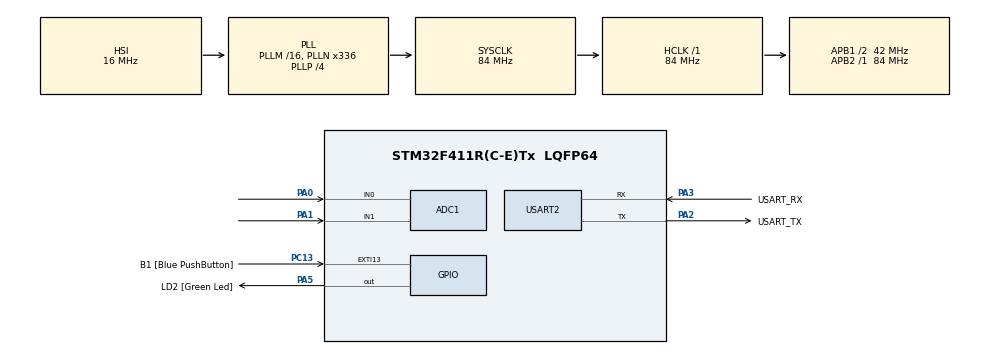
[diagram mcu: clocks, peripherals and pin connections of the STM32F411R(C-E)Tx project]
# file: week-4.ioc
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ADC1.Channel-0\#ChannelRegularConversion=ADC_CHANNEL_0
ADC1.Channel-1\#ChannelRegularConversion=ADC_CHANNEL_1
ADC1.Channel-2\#ChannelRegularConversion=ADC_CHANNEL_TEMPSENSOR
ADC1.Channel-3\#ChannelRegularConversion=ADC_CHANNEL_VREFINT
ADC1.ContinuousConvMode=ENABLE
ADC1.DMAContinuousRequests=ENABLE
ADC1.NbrOfConversion=4
ADC1.NbrOfConversionFlag=1
ADC1.Rank-0\#ChannelRegularConversion=1
ADC1.Rank-1\#ChannelRegularConversion=2
ADC1.Rank-2\#ChannelRegularConversion=3
ADC1.Rank-3\#ChannelRegularConversion=4
ADC1.SamplingTime-0\#ChannelRegularConversion=ADC_SAMPLETIME_480CYCLES
ADC1.SamplingTime-1\#ChannelRegularConversion=ADC_SAMPLETIME_480CYCLES
ADC1.SamplingTime-2\#ChannelRegularConversion=ADC_SAMPLETIME_480CYCLES
ADC1.SamplingTime-3\#ChannelRegularConversion=ADC_SAMPLETIME_480CYCLES
ADC1.master=1
Dma.ADC1.0.Direction=DMA_PERIPH_TO_MEMORY
Dma.ADC1.0.FIFOMode=DMA_FIFOMODE_DISABLE
Dma.ADC1.0.Instance=DMA2_Stream0
Dma.ADC1.0.MemDataAlignment=DMA_MDATAALIGN_WORD
Dma.ADC1.0.MemInc=DMA_MINC_ENABLE
Dma.ADC1.0.Mode=DMA_CIRCULAR
Dma.ADC1.0.PeriphDataAlignment=DMA_PDATAALIGN_WORD
Dma.ADC1.0.PeriphInc=DMA_PINC_DISABLE
Dma.ADC1.0.Priority=DMA_PRIORITY_LOW
Dma.Request0=ADC1
Mcu.Family=STM32F4
Mcu.Name=STM32F411R(C-E)Tx
Mcu.Package=LQFP64
NVIC.DMA2_Stream0_IRQn=true\:0\:0\:false\:false\:true\:false\:true
NVIC.EXTI15_10_IRQn=true\:0\:0\:false\:false\:true\:true\:true
NVIC.PriorityGroup=NVIC_PRIORITYGROUP_0
PA0-WKUP.Signal=ADCx_IN0
PA1.Signal=ADCx_IN1
PA13.GPIO_Label=TMS
PA13.Mode=Serial_Wire
PA13.Signal=SYS_JTMS-SWDIO
PA14.GPIO_Label=TCK
PA14.Mode=Serial_Wire
PA14.Signal=SYS_JTCK-SWCLK
PA2.GPIO_Label=USART_TX
PA2.Mode=Asynchronous
PA2.Signal=USART2_TX
PA3.GPIO_Label=USART_RX
PA3.Mode=Asynchronous
PA3.Signal=USART2_RX
PA5.GPIO_Label=LD2 [Green Led]
PA5.Signal=GPIO_Output
PB3.GPIO_Label=SWO
PB3.Signal=SYS_JTDO-SWO
PC13-ANTI_TAMP.GPIO_Label=B1 [Blue PushButton]
PC13-ANTI_TAMP.GPIO_ModeDefaultEXTI=GPIO_MODE_IT_RISING_FALLING
PC13-ANTI_TAMP.GPIO_PuPd=GPIO_PULLUP
PC13-ANTI_TAMP.Signal=GPXTI13
PC14-OSC32_IN.Mode=LSE-External-Oscillator
PC14-OSC32_IN.Signal=RCC_OSC32_IN
PC15-OSC32_OUT.Mode=LSE-External-Oscillator
PC15-OSC32_OUT.Signal=RCC_OSC32_OUT
PH0\ -\ OSC_IN.Mode=HSE-External-Clock-Source
PH0\ -\ OSC_IN.Signal=RCC_OSC_IN
PH1\ -\ OSC_OUT.Mode=HSE-External-Clock-Source
PH1\ -\ OSC_OUT.Signal=RCC_OSC_OUT
ProjectManager.HeapSize=0x200
ProjectManager.StackSize=0x400
ProjectManager.TargetToolchain=STM32CubeIDE
RCC.48MHZClocksFreq_Value=84000000
RCC.AHBFreq_Value=84000000
RCC.APB1CLKDivider=RCC_HCLK_DIV2
RCC.APB1Freq_Value=42000000
RCC.APB1TimFreq_Value=84000000
RCC.APB2Freq_Value=84000000
RCC.APB2TimFreq_Value=84000000
RCC.CortexFreq_Value=84000000
RCC.FLatency-AdvancedSettings=FLASH_LATENCY_2
RCC.HCLKFreq_Value=84000000
RCC.HSE_VALUE=8000000
RCC.HSI_VALUE=16000000
RCC.PLLN=336
RCC.PLLP=RCC_PLLP_DIV4
RCC.SYSCLKFreq_VALUE=84000000
RCC.SYSCLKSource=RCC_SYSCLKSOURCE_PLLCLK
RCC.VCOOutputFreq_Value=336000000
SH.ADCx_IN0.0=ADC1_IN0,IN0
SH.ADCx_IN1.0=ADC1_IN1,IN1
USART2.VirtualMode=VM_ASYNC
VP_ADC1_TempSens_Input.Mode=IN-TempSens
VP_ADC1_Vref_Input.Mode=IN-Vrefint
board=NUCLEO-F411RE

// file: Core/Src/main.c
/* USER CODE BEGIN Header */
/**
 ******************************************************************************
 * @file           : main.c
 * @brief          : Main program body
 ******************************************************************************
 * @attention
 *
 * <h2><center>&copy; Copyright (c) 2021 STMicroelectronics.
 * All rights reserved.</center></h2>
 *
 * This software component is licensed by ST under BSD 3-Clause license,
 * the "License"; You may not use this file except in compliance with the
 * License. You may obtain a copy of the License at:
 *                        opensource.org/licenses/BSD-3-Clause
 *
 ******************************************************************************
 */
/* USER CODE END Header */
#include "main.h"

ADC_HandleTypeDef hadc1;
DMA_HandleTypeDef hdma_adc1;

UART_HandleTypeDef huart2;

/* USER CODE BEGIN PV */
uint32_t ADCData[4] = { 0 };
uint32_t ButtonTimeStamp = 0;
uint32_t ButtonTimeStamp2 = 0;
uint32_t release = 0;
uint32_t TimeCode = 0;
uint32_t ResponseGame = 0;
uint32_t ResponseGame1 = 0;
int ModeLED = 0;
GPIO_PinState SwitchState[2];

/* USER CODE END PV */

void SystemClock_Config(void);
static void MX_GPIO_Init(void);
static void MX_DMA_Init(void);
static void MX_USART2_UART_Init(void);
static void MX_ADC1_Init(void);

int main(void) {

	/* MCU Configuration--------------------------------------------------------*/

	/* Reset of all peripherals, Initializes the Flash interface and the Systick. */
	HAL_Init();

	/* Configure the system clock */
	SystemClock_Config();

	/* Initialize all configured peripherals */
	MX_GPIO_Init();
	MX_DMA_Init();
	MX_USART2_UART_Init();
	MX_ADC1_Init();
	/* USER CODE BEGIN 2 */
	HAL_ADC_Start_DMA(&hadc1, ADCData, 4); // ADCData = &ADCData[0]
	/* USER CODE END 2 */

	/* Infinite loop */
	while (1) {

		/* USER CODE BEGIN 3 */
		ResponseGame1 = (1000 + ((22695477 * ADCData[0]) + ADCData[1]) % 10000);
		if (ModeLED == 1) {
			if ((HAL_GetTick() - ButtonTimeStamp2) > ResponseGame) {
				HAL_GPIO_TogglePin(LD2_GPIO_Port, LD2_Pin);
				ButtonTimeStamp2 = HAL_GetTick();
				ModeLED = 2;
			}
		}
	}
	/* USER CODE END 3 */
}

void SystemClock_Config(void) {
	RCC_OscInitTypeDef RCC_OscInitStruct = { 0 };
	RCC_ClkInitTypeDef RCC_ClkInitStruct = { 0 };

	/** Configure the main internal regulator output voltage
	 */
	__HAL_RCC_PWR_CLK_ENABLE();
	__HAL_PWR_VOLTAGESCALING_CONFIG(PWR_REGULATOR_VOLTAGE_SCALE1);
	/** Initializes the RCC Oscillators according to the specified parameters
	 * in the RCC_OscInitTypeDef structure.
	 */
	RCC_OscInitStruct.OscillatorType = RCC_OSCILLATORTYPE_HSI;
	RCC_OscInitStruct.HSIState = RCC_HSI_ON;
	RCC_OscInitStruct.HSICalibrationValue = RCC_HSICALIBRATION_DEFAULT;
	RCC_OscInitStruct.PLL.PLLState = RCC_PLL_ON;
	RCC_OscInitStruct.PLL.PLLSource = RCC_PLLSOURCE_HSI;
	RCC_OscInitStruct.PLL.PLLM = 16;
	RCC_OscInitStruct.PLL.PLLN = 336;
	RCC_OscInitStruct.PLL.PLLP = RCC_PLLP_DIV4;
	RCC_OscInitStruct.PLL.PLLQ = 4;
	if (HAL_RCC_OscConfig(&RCC_OscInitStruct) != HAL_OK) {
		Error_Handler();
	}
	/** Initializes the CPU, AHB and APB buses clocks
	 */
	RCC_ClkInitStruct.ClockType = RCC_CLOCKTYPE_HCLK | RCC_CLOCKTYPE_SYSCLK
			| RCC_CLOCKTYPE_PCLK1 | RCC_CLOCKTYPE_PCLK2;
	RCC_ClkInitStruct.SYSCLKSource = RCC_SYSCLKSOURCE_PLLCLK;
	RCC_ClkInitStruct.AHBCLKDivider = RCC_SYSCLK_DIV1;
	RCC_ClkInitStruct.APB1CLKDivider = RCC_HCLK_DIV2;
	RCC_ClkInitStruct.APB2CLKDivider = RCC_HCLK_DIV1;

	if (HAL_RCC_ClockConfig(&RCC_ClkInitStruct, FLASH_LATENCY_2) != HAL_OK) {
		Error_Handler();
	}
}

static void MX_ADC1_Init(void) {

	ADC_ChannelConfTypeDef sConfig = { 0 };

	/** Configure the global features of the ADC (Clock, Resolution, Data Alignment and number of conversion)
	 */
	hadc1.Instance = ADC1;
	hadc1.Init.ClockPrescaler = ADC_CLOCK_SYNC_PCLK_DIV4;
	hadc1.Init.Resolution = ADC_RESOLUTION_12B;
	hadc1.Init.ScanConvMode = ENABLE;
	hadc1.Init.ContinuousConvMode = ENABLE;
	hadc1.Init.DiscontinuousConvMode = DISABLE;
	hadc1.Init.ExternalTrigConvEdge = ADC_EXTERNALTRIGCONVEDGE_NONE;
	hadc1.Init.ExternalTrigConv = ADC_SOFTWARE_START;
	hadc1.Init.DataAlign = ADC_DATAALIGN_RIGHT;
	hadc1.Init.NbrOfConversion = 4;
	hadc1.Init.DMAContinuousRequests = ENABLE;
	hadc1.Init.EOCSelection = ADC_EOC_SINGLE_CONV;
	if (HAL_ADC_Init(&hadc1) != HAL_OK) {
		Error_Handler();
	}
	/** Configure for the selected ADC regular channel its corresponding rank in the sequencer and its sample time.
	 */
	sConfig.Channel = ADC_CHANNEL_0;
	sConfig.Rank = 1;
	sConfig.SamplingTime = ADC_SAMPLETIME_480CYCLES;
	if (HAL_ADC_ConfigChannel(&hadc1, &sConfig) != HAL_OK) {
		Error_Handler();
	}
	/** Configure for the selected ADC regular channel its corresponding rank in the sequencer and its sample time.
	 */
	sConfig.Channel = ADC_CHANNEL_1;
	sConfig.Rank = 2;
	if (HAL_ADC_ConfigChannel(&hadc1, &sConfig) != HAL_OK) {
		Error_Handler();
	}
	/** Configure for the selected ADC regular channel its corresponding rank in the sequencer and its sample time.
	 */
	sConfig.Channel = ADC_CHANNEL_TEMPSENSOR;
	sConfig.Rank = 3;
	if (HAL_ADC_ConfigChannel(&hadc1, &sConfig) != HAL_OK) {
		Error_Handler();
	}
	/** Configure for the selected ADC regular channel its corresponding rank in the sequencer and its sample time.
	 */
	sConfig.Channel = ADC_CHANNEL_VREFINT;
	sConfig.Rank = 4;
	if (HAL_ADC_ConfigChannel(&hadc1, &sConfig) != HAL_OK) {
		Error_Handler();
	}

}

static void MX_USART2_UART_Init(void) {

	huart2.Instance = USART2;
	huart2.Init.BaudRate = 115200;
	huart2.Init.WordLength = UART_WORDLENGTH_8B;
	huart2.Init.StopBits = UART_STOPBITS_1;
	huart2.Init.Parity = UART_PARITY_NONE;
	huart2.Init.Mode = UART_MODE_TX_RX;
	huart2.Init.HwFlowCtl = UART_HWCONTROL_NONE;
	huart2.Init.OverSampling = UART_OVERSAMPLING_16;
	if (HAL_UART_Init(&huart2) != HAL_OK) {
		Error_Handler();
	}

}

static void MX_DMA_Init(void) {

	/* DMA controller clock enable */
	__HAL_RCC_DMA2_CLK_ENABLE();

	/* DMA interrupt init */
	/* DMA2_Stream0_IRQn interrupt configuration */
	HAL_NVIC_SetPriority(DMA2_Stream0_IRQn, 0, 0);
	HAL_NVIC_EnableIRQ(DMA2_Stream0_IRQn);

}

static void MX_GPIO_Init(void) {
	GPIO_InitTypeDef GPIO_InitStruct = { 0 };

	/* GPIO Ports Clock Enable */
	__HAL_RCC_GPIOC_CLK_ENABLE();
	__HAL_RCC_GPIOH_CLK_ENABLE();
	__HAL_RCC_GPIOA_CLK_ENABLE();
	__HAL_RCC_GPIOB_CLK_ENABLE();

	/*Configure GPIO pin Output Level */
	HAL_GPIO_WritePin(LD2_GPIO_Port, LD2_Pin, GPIO_PIN_SET);

	/*Configure GPIO pin : B1_Pin */
	GPIO_InitStruct.Pin = B1_Pin;
	GPIO_InitStruct.Mode = GPIO_MODE_IT_RISING_FALLING;
	GPIO_InitStruct.Pull = GPIO_PULLUP;
	HAL_GPIO_Init(B1_GPIO_Port, &GPIO_InitStruct);

	/*Configure GPIO pin : LD2_Pin */
	GPIO_InitStruct.Pin = LD2_Pin;
	GPIO_InitStruct.Mode = GPIO_MODE_OUTPUT_PP;
	GPIO_InitStruct.Pull = GPIO_NOPULL;
	GPIO_InitStruct.Speed = GPIO_SPEED_FREQ_LOW;
	HAL_GPIO_Init(LD2_GPIO_Port, &GPIO_InitStruct);

	/* EXTI interrupt init*/
	HAL_NVIC_SetPriority(EXTI15_10_IRQn, 0, 0);
	HAL_NVIC_EnableIRQ(EXTI15_10_IRQn);

}

/* USER CODE BEGIN 4 */
void HAL_GPIO_EXTI_Callback(uint16_t GPIO_Pin) {
	if (GPIO_Pin == GPIO_PIN_13) {
		if (HAL_GetTick() - ButtonTimeStamp >= 100) //ms
				{
			ButtonTimeStamp = HAL_GetTick();
			TimeCode = HAL_GetTick();

			if (ModeLED == 0) {
				HAL_GPIO_TogglePin(LD2_GPIO_Port, LD2_Pin);
				ButtonTimeStamp2 = HAL_GetTick();
				ResponseGame = (1000 + ((22695477 * ADCData[0]) + ADCData[1]) % 10000);
			}

			if (ModeLED == 2) {
				release = HAL_GetTick() - ButtonTimeStamp2;
				ModeLED = 0;
			}
			else if( ModeLED == 1)
			{
				ModeLED = 0;
				HAL_GPIO_TogglePin(LD2_GPIO_Port, LD2_Pin);
			}
			else {
				ModeLED = 1;
			}
		}
	}
}
/* USER CODE END 4 */

void Error_Handler(void) {
	__disable_irq();
	while (1) {
	}
}

/************************ (C) COPYRIGHT STMicroelectronics *****END OF FILE****/
